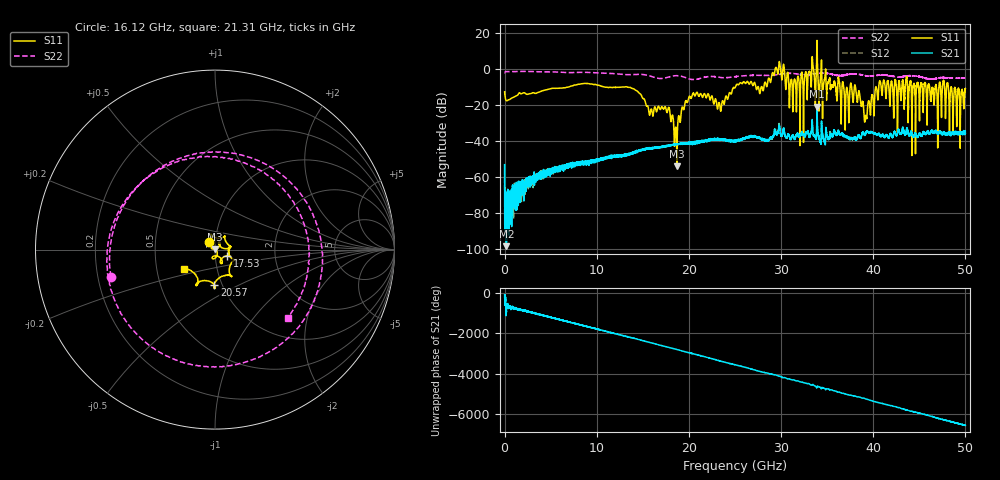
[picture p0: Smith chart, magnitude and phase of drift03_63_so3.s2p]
!Created with skrf (http://scikit-rf.org).
# Hz S RI R 50.0
!freq ReS11 ImS11 ReS21 ImS21 ReS12 ImS12 ReS22 ImS22
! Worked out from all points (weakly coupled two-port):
!   10001 points, 300 kHz to 50 GHz, reference 50 ohm
!   highest |S21| = -20.99 dB at 33.9 GHz (marker M1); lowest = -98.3 dB at 195.3 MHz (marker M2)
!   lowest |S11| = -54.0 dB at 18.69 GHz (marker M3), VSWR 1.00, Z = 49.9 + j0.185 ohm
!   |S11| at or under -10 dB: start of sweep to 6.943 GHz; 13.31 GHz to 25.05 GHz (11.73 GHz wide, 61.2 % of centre); 38.07 GHz to 40.27 GHz (2.192 GHz wide, 5.6 % of centre) (the widest 3 of 58)
!   |S22| runs from -5.9 to -1.3 dB; largest |S21 - S12| = 0.0079
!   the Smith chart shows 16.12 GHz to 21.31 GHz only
!   S11 on the Smith chart (normalised r, x): 16.12 GHz: 0.94, +0.08; 17.53 GHz: 1.14, -0.08; 20.57 GHz: 0.92, -0.38; 21.31 GHz: 0.69, -0.16
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300000  -0.2096 -0.1025  -0.00045 -0.00218  0.000532 0.00163  -0.7647 -0.196
1.952988e8  -0.1144 0.0651  -6.72e-06 1.02e-05  -7.25e-05 -5.21e-05  -0.7837 0.3178
1.535291e9  0.2048 0.0433  -6.17e-05 -0.000418  -0.00019 -0.000587  0.8486 0.0773
3.160281e9  -0.2186 -0.00812  8.61e-05 0.000683  0.000148 0.000931  -0.8439 -0.0248
4.665272e9  0.2635 0.0612  0.000269 -0.00122  -9.84e-05 -0.00131  0.8183 0.1417
6.360262e9  -0.3 0.000404  0.000951 0.00174  0.000691 0.00199  -0.8044 -0.043
8.33525e9  0.2835 -0.2682  -0.00228 -0.00107  -0.00232 -0.00101  0.6019 -0.5356
1.043024e10  -0.0435 0.3323  0.00261 -0.00182  0.00244 -0.00195  -0.0367 0.7701
1.201523e10  0.00677 -0.3081  -0.00264 0.00274  -0.00269 0.00253  0.1078 -0.7296
1.61152e10  -0.0312 0.0407  0.00583 0.00211  0.00602 0.00221  -0.5805 -0.1507
1.66702e10  0.0541 0.0752  0.00451 -0.00479  0.00483 -0.00479  -0.3596 0.4176
1.752519e10  0.0669 -0.0354  -0.00604 -0.00394  -0.00615 -0.00386  0.4908 0.2905
1.869019e10  -0.000735 0.00185  0.00244 0.00773  0.00242 0.00756  -0.0837 -0.6473
2.057018e10  -0.00411 -0.1964  -0.00808 -0.00441  -0.00808 -0.00423  0.371 0.3465
2.131017e10  -0.1725 -0.1099  -0.00554 0.00838  -0.00561 0.00788  0.4046 -0.3802
2.500015e10  -0.2961 -0.0476  0.00777 0.00681  0.00773 0.00724  -0.1851 -0.5826
3.051012e10  0.247 -0.1065  -0.00248 0.0126  -0.002 0.0125  0.7415 -0.0603
3.213011e10  0.2001 0.3741  -0.000164 -0.015  -0.000528 -0.0155  -0.7032 0.0117
3.33351e10  0.4927 -1.022  -0.005 0.0262  -0.00577 0.0252  0.6153 0.3646
3.38951e10  -0.4912 -6.154  0.0884 0.0121  0.0822 0.00974  0.6767 -0.3314
4.167005e10  -0.2203 0.2801  -0.0117 -0.00496  -0.0116 -0.00525  -0.6465 -0.0533
5e10  -0.1366 -0.2526  0.000944 -0.0165  0.00055 -0.0168  0.4683 -0.3165
